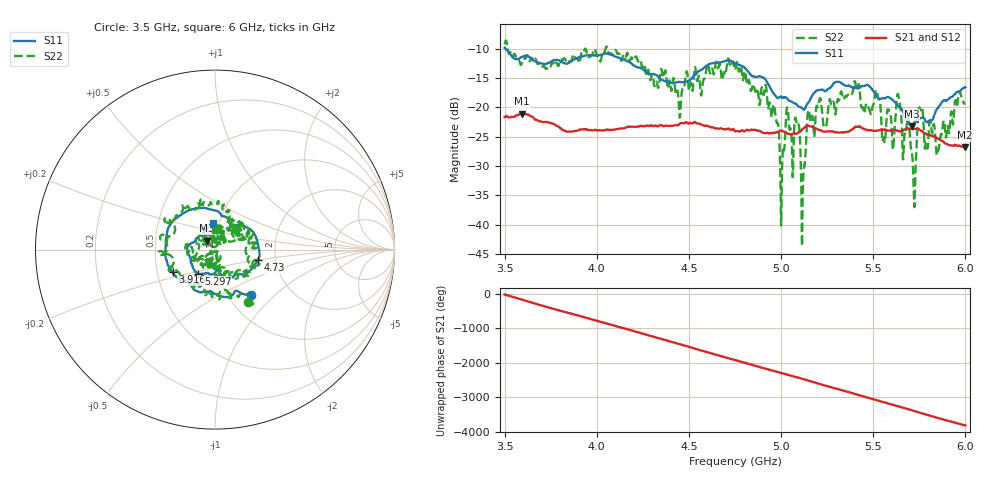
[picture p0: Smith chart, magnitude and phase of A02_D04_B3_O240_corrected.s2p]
! Created with skrf 1.9.0 (http://scikit-rf.org).
# Hz S RI R 50.0
!freq ReS11 ImS11 ReS21 ImS21 ReS12 ImS12 ReS22 ImS22
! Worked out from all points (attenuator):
!   1601 points, 3.5 GHz to 6 GHz, reference 50 ohm
!   highest |S21| = -21.11 dB at 3.592 GHz (marker M1); lowest = -26.8 dB at 5.998 GHz (marker M2)
!   lowest |S11| = -23.2 dB at 5.708 GHz (marker M3), VSWR 1.15, Z = 45.3 + j4.57 ohm
!   |S11| at or under -10 dB: 3.505 GHz to end of sweep
!   |S22| runs from -43.6 to -8.6 dB; largest |S21 - S12| = 0.0012
!   S11 on the Smith chart (normalised r, x): 3.5 GHz: 1.27, -0.71; 3.916 GHz: 0.60, -0.16; 4.73 GHz: 1.62, -0.20; 5.297 GHz: 0.80, -0.22; 6 GHz: 0.94, +0.28
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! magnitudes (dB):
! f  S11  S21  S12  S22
! 3.5 GHz  -9.9  -21.7  -21.6  -9.2
! 3.592 GHz  -11.4  -21.1  -21.1  -12.6
! 3.916 GHz  -11.4  -23.8  -23.7  -11.0
! 3.917 GHz  -11.4  -23.8  -23.7  -10.8
! 4.334 GHz  -14.8  -23.2  -23.1  -16.7
! 4.73 GHz  -12.1  -23.9  -23.8  -13.0
! 4.75 GHz  -12.5  -24.1  -24.0  -13.7
! 4.911 GHz  -15.1  -24.4  -24.3  -16.9
! 5.005 GHz  -18.2  -24.0  -24.0  -31.1
! 5.033 GHz  -18.5  -24.5  -24.4  -20.0
! 5.086 GHz  -19.6  -24.5  -24.4  -23.1
! 5.12 GHz  -20.4  -23.6  -23.5  -31.9
! 5.167 GHz  -18.1  -23.3  -23.2  -21.5
! 5.297 GHz  -15.7  -24.3  -24.2  -20.9
! 5.584 GHz  -18.3  -24.0  -23.9  -20.5
! 5.638 GHz  -19.8  -24.0  -24.0  -18.1
! 5.708 GHz  -23.2  -23.7  -23.6  -27.5
! 5.725 GHz  -22.5  -23.6  -23.6  -35.3
! 5.756 GHz  -21.9  -23.9  -23.8  -20.5
! 5.85 GHz  -20.1  -25.3  -25.2  -27.6
! 5.998 GHz  -16.7  -26.8  -26.7  -19.3
! 6 GHz  -16.6  -26.8  -26.7  -19.3
